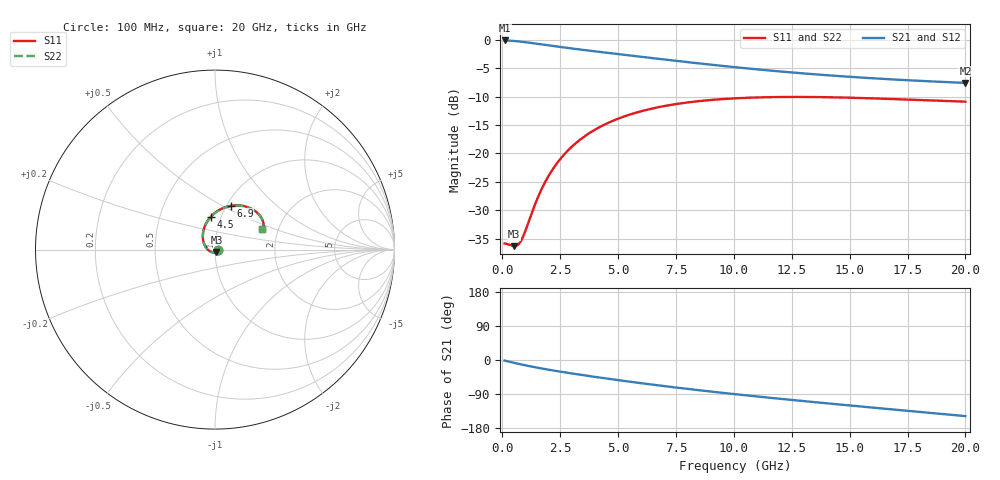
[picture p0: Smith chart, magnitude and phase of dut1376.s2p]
! Touchstone file exported from HFSS 2024.1.0
!  File:  C:/UserFiles/LocalFiles/RDL_TSV_Batchsim/temp_RDL_TSV_1376_1780400424.aedt
!  Generated:  07:52:44 PM Jun  2, 2026
!  Design:  RDL_TSV
!  Project:  temp_RDL_TSV_1376_1780400424
!  Setup:  Setup1
!  Solution:  Sweep
! Variables:
!  dtsv = 14.24um
!  hbump = 3um
!  htsv = 67.96um
!  ldown = 451.85um
!  lrdl = 122.86um
!  p = 40
!  p1 = 50.96um
!  rhole = 10um
!  subl = 1846.99um
!  t = 450um
!  tdown = 2.02um
!  trdl = 3.23um
!  viad = 10um
!  wdown = 18.38um
!  wrdl = 16.95um
!  xbump = 18um
# GHz S MA R 50.000000
! Terminal data exported
! Port[1] = TM1_1_T1
! Port[2] = TM1_4_T1
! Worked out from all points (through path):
!   200 points, 100 MHz to 20 GHz, reference 50 ohm
!   highest |S21| = -0.15 dB at 100 MHz (marker M1); lowest = -7.6 dB at 20 GHz (marker M2)
!   group delay of S21, straight-line fit = 19.3 ps
!   lowest |S11| = -36.3 dB at 500 MHz (marker M3), VSWR 1.03, Z = 50.8 - j1.33 ohm
!   |S11| at or under -10 dB: start of sweep to end of sweep
!   |S22| runs from -36.3 to -10.1 dB; largest |S21 - S12| = 2.6e-14
!   S11 on the Smith chart (normalised r, x): 100 MHz: 1.03, -0.01; 4.5 GHz: 0.89, +0.33; 6.9 GHz: 1.04, +0.55; 20 GHz: 1.64, +0.41
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0.1  0.01622 -10.1  0.9832 -1.5  0.9832 -1.5  0.01622 -10.1
! Gamma 0 0 0 0
! Port Impedance 50 0 50 0
0.5  0.01535 -58.4  0.9732 -7.4  0.9732 -7.4  0.01536 -58.4
0.7  0.01589 -89.3  0.9647 -10.1  0.9647 -10.1  0.01591 -89.2
0.8  0.01696 -105.0  0.9598 -11.5  0.9598 -11.5  0.01696 -104.9
1  0.02101 -133.3  0.9492 -14.1  0.9492 -14.1  0.021 -133.2
1.4  0.03515 -171.7  0.9258 -19.0  0.9258 -19.0  0.0351 -171.6
1.6  0.04405 175.4  0.9137 -21.3  0.9137 -21.3  0.04397 175.5
1.8  0.05361 164.9  0.9017 -23.5  0.9017 -23.5  0.05351 165.0
2.1  0.06865 152.2  0.8841 -26.7  0.8841 -26.7  0.06851 152.3
2.7  0.09945 133.1  0.8513 -32.6  0.8513 -32.6  0.09922 133.2
3.1  0.1196 123.2  0.831 -36.4  0.831 -36.4  0.1193 123.3
3.5  0.1389 114.8  0.8119 -40.1  0.8119 -40.1  0.1386 114.8
4.5  0.1828 97.9  0.7674 -48.9  0.7674 -48.9  0.1824 97.9
5.6  0.2228 83.6  0.7221 -58.0  0.7221 -58.0  0.2222 83.6
6.8  0.2564 71.3  0.6763 -67.4  0.6763 -67.4  0.2558 71.2
6.9  0.2588 70.4  0.6726 -68.2  0.6726 -68.2  0.2581 70.3
8.5  0.2885 57.7  0.6181 -79.8  0.6181 -79.8  0.2877 57.7
10.1  0.3054 47.9  0.5712 -90.5  0.5712 -90.5  0.3045 47.8
11.7  0.3128 40.2  0.5319 -100.6  0.5319 -100.6  0.3119 40.1
13.4  0.3133 33.9  0.4976 -110.7  0.4976 -110.7  0.3124 33.8
16.7  0.3016 26.2  0.449 -129.6  0.449 -129.6  0.3006 26.2
20  0.2852 23.8  0.4168 -148.1  0.4168 -148.1  0.2843 23.7
